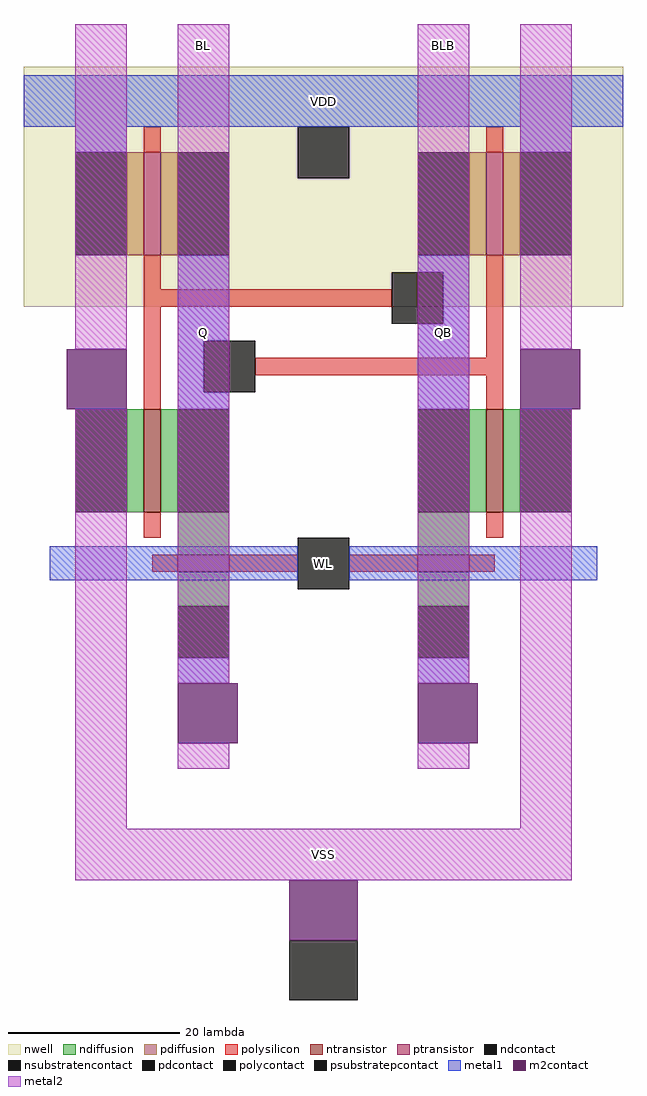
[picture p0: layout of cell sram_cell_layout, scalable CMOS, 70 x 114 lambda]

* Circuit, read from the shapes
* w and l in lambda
.subckt sram_cell_layout BLB VDD WL VSS BL
M1 Q QB VSS VSS nfet w=12 l=2
M2 Q WL BL VSS nfet w=6 l=2
M3 QB WL BLB VSS nfet w=6 l=2
M4 VSS Q QB VSS nfet w=12 l=2
M5 Q QB VDD VDD pfet w=12 l=2
M6 VDD Q QB VDD pfet w=12 l=2
.ends

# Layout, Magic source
magic
tech scmos
<< nwell >>
rect -33 -1 37 27
<< ntransistor >>
rect -19 -25 -17 -13
rect 21 -25 23 -13
rect -15 -32 -9 -30
rect 13 -32 19 -30
<< ptransistor >>
rect -19 5 -17 17
rect 21 5 23 17
<< ndiffusion >>
rect -21 -25 -19 -13
rect -17 -25 -15 -13
rect -15 -30 -9 -25
rect 19 -25 21 -13
rect 23 -25 25 -13
rect -15 -36 -9 -32
rect 13 -30 19 -25
rect 13 -36 19 -32
<< pdiffusion >>
rect -21 5 -19 17
rect -17 5 -15 17
rect 19 5 21 17
rect 23 5 25 17
<< ndcontact >>
rect -27 -25 -21 -13
rect -15 -25 -9 -13
rect 13 -25 19 -13
rect 25 -25 31 -13
rect -15 -42 -9 -36
rect 13 -42 19 -36
<< pdcontact >>
rect -27 5 -21 17
rect -15 5 -9 17
rect 13 5 19 17
rect 25 5 31 17
<< psubstratepcontact >>
rect -2 -82 6 -75
<< nsubstratencontact >>
rect -1 14 5 20
<< polysilicon >>
rect -19 17 -17 20
rect 21 17 23 20
rect -19 1 -17 5
rect -19 -1 10 1
rect -19 -13 -17 -1
rect 21 -7 23 5
rect -6 -9 23 -7
rect 21 -13 23 -9
rect -19 -28 -17 -25
rect -18 -32 -15 -30
rect -9 -32 -1 -30
rect 21 -28 23 -25
rect 5 -32 13 -30
rect 19 -32 22 -30
<< polycontact >>
rect 10 -3 16 3
rect -12 -11 -6 -5
rect -1 -34 5 -28
<< metal1 >>
rect -33 20 37 26
rect -27 17 -21 20
rect 25 17 31 20
rect -15 -5 -9 5
rect 13 3 19 5
rect 16 -3 19 3
rect -15 -11 -12 -5
rect -15 -13 -9 -11
rect 13 -13 19 -3
rect -30 -33 -1 -29
rect 5 -33 34 -29
rect -15 -45 -9 -42
rect 13 -45 19 -42
<< m2contact >>
rect -28 -13 -21 -6
rect 25 -13 32 -6
rect -15 -52 -8 -45
rect 13 -52 20 -45
rect -2 -75 6 -68
<< metal2 >>
rect -27 -6 -21 32
rect -27 -62 -21 -13
rect -15 -45 -9 32
rect 13 -45 19 32
rect 25 -6 31 32
rect -15 -55 -9 -52
rect 13 -55 19 -52
rect 25 -62 31 -13
rect -27 -68 31 -62
<< labels >>
rlabel metal1 -33 20 37 26 0 VDD
port 8 nsew
rlabel metal1 -30 -33 34 -29 0 WL
port 9 nsew
rlabel metal2 -27 -68 31 -62 0 VSS
port 10 nsew
rlabel metal1 -15 -13 -9 5 0 Q
rlabel metal1 13 -13 19 5 0 QB
rlabel metal2 13 27 19 32 0 BLB
port 7 nsew
rlabel metal2 -15 27 -9 32 0 BL
port 11 nsew
<< end >>
